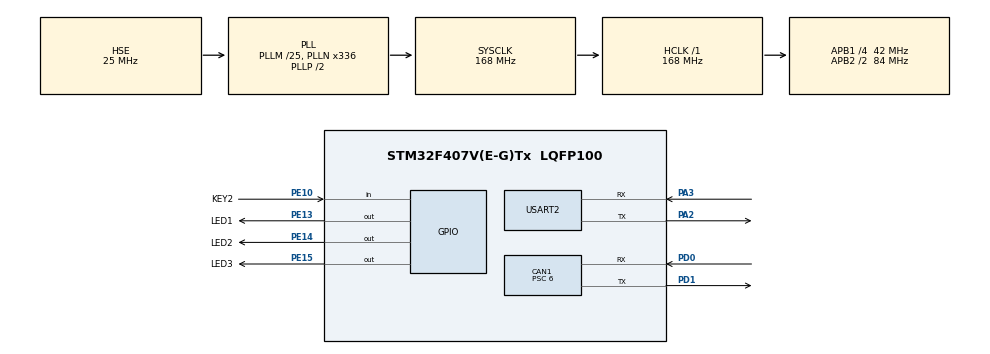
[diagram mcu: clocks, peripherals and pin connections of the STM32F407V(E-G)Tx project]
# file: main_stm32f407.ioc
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CAN1.BS1=CAN_BS1_11TQ
CAN1.BS2=CAN_BS2_2TQ
CAN1.CalculateBaudRate=500000
CAN1.CalculateTimeBit=2000
CAN1.CalculateTimeQuantum=142.85714285714286
CAN1.Prescaler=6
Dma.Request0=USART2_RX
Dma.USART2_RX.0.Direction=DMA_PERIPH_TO_MEMORY
Dma.USART2_RX.0.FIFOMode=DMA_FIFOMODE_DISABLE
Dma.USART2_RX.0.Instance=DMA1_Stream5
Dma.USART2_RX.0.MemDataAlignment=DMA_MDATAALIGN_BYTE
Dma.USART2_RX.0.MemInc=DMA_MINC_ENABLE
Dma.USART2_RX.0.Mode=DMA_CIRCULAR
Dma.USART2_RX.0.PeriphDataAlignment=DMA_PDATAALIGN_BYTE
Dma.USART2_RX.0.PeriphInc=DMA_PINC_DISABLE
Dma.USART2_RX.0.Priority=DMA_PRIORITY_LOW
Mcu.Family=STM32F4
Mcu.Name=STM32F407V(E-G)Tx
Mcu.Package=LQFP100
NVIC.CAN1_RX0_IRQn=true\:0\:0\:false\:false\:true\:true\:true\:true
NVIC.CAN1_RX1_IRQn=true\:0\:0\:false\:false\:true\:true\:true\:true
NVIC.CAN1_SCE_IRQn=true\:0\:0\:false\:false\:true\:true\:true\:true
NVIC.CAN1_TX_IRQn=true\:0\:0\:false\:false\:true\:true\:true\:true
NVIC.DMA1_Stream5_IRQn=true\:0\:0\:false\:false\:true\:false\:true\:true
NVIC.PriorityGroup=NVIC_PRIORITYGROUP_4
NVIC.TIM1_TRG_COM_TIM11_IRQn=true\:15\:0\:true\:false\:true\:true\:true\:true
NVIC.USART2_IRQn=true\:0\:0\:false\:false\:true\:true\:true\:true
PA13.Mode=Serial_Wire
PA13.Signal=SYS_JTMS-SWDIO
PA14.Mode=Serial_Wire
PA14.Signal=SYS_JTCK-SWCLK
PA2.Mode=Asynchronous
PA2.Signal=USART2_TX
PA3.Mode=Asynchronous
PA3.Signal=USART2_RX
PD0.Mode=CAN_Activate
PD0.Signal=CAN1_RX
PD1.Mode=CAN_Activate
PD1.Signal=CAN1_TX
PE10.GPIO_Label=KEY2
PE10.Signal=GPIO_Input
PE13.GPIO_Label=LED1
PE13.PinState=GPIO_PIN_SET
PE13.Signal=GPIO_Output
PE14.GPIO_Label=LED2
PE14.PinState=GPIO_PIN_SET
PE14.Signal=GPIO_Output
PE15.GPIO_Label=LED3
PE15.PinState=GPIO_PIN_SET
PE15.Signal=GPIO_Output
PH0-OSC_IN.Mode=HSE-External-Oscillator
PH0-OSC_IN.Signal=RCC_OSC_IN
PH1-OSC_OUT.Mode=HSE-External-Oscillator
PH1-OSC_OUT.Signal=RCC_OSC_OUT
ProjectManager.HeapSize=0x200
ProjectManager.StackSize=0x400
ProjectManager.TargetToolchain=Makefile
RCC.48MHZClocksFreq_Value=84000000
RCC.AHBFreq_Value=168000000
RCC.APB1CLKDivider=RCC_HCLK_DIV4
RCC.APB1Freq_Value=42000000
RCC.APB1TimFreq_Value=84000000
RCC.APB2CLKDivider=RCC_HCLK_DIV2
RCC.APB2Freq_Value=84000000
RCC.APB2TimFreq_Value=168000000
RCC.CortexFreq_Value=168000000
RCC.HCLKFreq_Value=168000000
RCC.HSE_VALUE=25000000
RCC.HSI_VALUE=16000000
RCC.LSE_VALUE=32768
RCC.PLLM=25
RCC.PLLN=336
RCC.PLLSourceVirtual=RCC_PLLSOURCE_HSE
RCC.SYSCLKFreq_VALUE=168000000
RCC.SYSCLKSource=RCC_SYSCLKSOURCE_PLLCLK
RCC.VCOOutputFreq_Value=336000000
TIM11.Period=41999
TIM11.Prescaler=3
USART2.VirtualMode=VM_ASYNC
VP_TIM11_VS_ClockSourceINT.Mode=Enable_Timer
board=custom

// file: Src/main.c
/* USER CODE BEGIN Header */
/**
  ******************************************************************************
  * @file           : main.c
  * @brief          : Main program body
  ******************************************************************************
  * @attention
  *
  * Copyright (c) 2024 STMicroelectronics.
  * All rights reserved.
  *
  * This software is licensed under terms that can be found in the LICENSE file
  * in the root directory of this software component.
  * If no LICENSE file comes with this software, it is provided AS-IS.
  *
  ******************************************************************************
  */
/* USER CODE END Header */
#include "main.h"

/* USER CODE BEGIN Includes */
#include "../../plugin/plugin.h"

/* USER CODE END Includes */

CAN_HandleTypeDef hcan1;

TIM_HandleTypeDef htim11;

UART_HandleTypeDef huart2;
DMA_HandleTypeDef hdma_usart2_rx;

/* USER CODE BEGIN PV */

#define UART_BUF_SIZE 2048

uint8_t uart_buf[UART_BUF_SIZE];
int uart_head = 0;

uint16_t led_interval = 1000;

/* USER CODE END PV */

void SystemClock_Config(void);
static void MX_GPIO_Init(void);
static void MX_DMA_Init(void);
static void MX_TIM11_Init(void);
static void MX_USART2_UART_Init(void);
static void MX_CAN1_Init(void);

/* USER CODE BEGIN 0 */

void HAL_TIM_PeriodElapsedCallback(TIM_HandleTypeDef *htim)
{
  if (htim == &htim11) {
    plugin_interface->loop();
  }
}

void HAL_UARTEx_RxEventCallback(UART_HandleTypeDef *huart, uint16_t Size)
{
  int uart_tail = Size == UART_BUF_SIZE ? 0 : Size;
  /* consume from head to end of buf if tail already wrap around */
  if (uart_tail < uart_head) {
    plugin_interface->handle_uart(uart_buf + uart_head, UART_BUF_SIZE - uart_head);
    uart_head = 0;
  }
  /* consume from head to tail */
  if (uart_tail > uart_head) {
    plugin_interface->handle_uart(uart_buf + uart_head, uart_tail - uart_head);
    uart_head = uart_tail;
  }
}

void HAL_CAN_RxFifo0MsgPendingCallback(CAN_HandleTypeDef *hcan)
{
  CAN_RxHeaderTypeDef rxMsgHeader;
  uint8_t data[8];
  if (hcan == &hcan1) {
    if (HAL_CAN_GetRxMessage(hcan, CAN_RX_FIFO0, &rxMsgHeader, data) == HAL_OK) {
      // TODO: should modify interface to handle ExtId and RTR frame
      plugin_interface->handle_can(rxMsgHeader.StdId, data, rxMsgHeader.DLC);
    }
  }
}

/* USER CODE END 0 */

int main(void)
{
  /* USER CODE BEGIN 1 */
  CAN_FilterTypeDef filterConfig;

  /* USER CODE END 1 */

  /* MCU Configuration--------------------------------------------------------*/

  /* Reset of all peripherals, Initializes the Flash interface and the Systick. */
  HAL_Init();

  /* Configure the system clock */
  SystemClock_Config();

  /* Initialize all configured peripherals */
  MX_GPIO_Init();
  MX_DMA_Init();
  MX_TIM11_Init();
  MX_USART2_UART_Init();
  MX_CAN1_Init();
  /* USER CODE BEGIN 2 */

  plugin_interface->entry();

  /* start uart rx dma in circular mode */
  HAL_UARTEx_ReceiveToIdle_DMA(&huart2, uart_buf, sizeof(uart_buf));

  /* start plugin timer */
  HAL_TIM_Base_Start_IT(&htim11);

  /* receive all can frames, just for demo purpose */
  filterConfig.FilterBank = 0;
  filterConfig.FilterMode = CAN_FILTERMODE_IDMASK;
  filterConfig.FilterScale = CAN_FILTERSCALE_32BIT;
  filterConfig.FilterIdHigh = 0;
  filterConfig.FilterIdLow = 0;
  filterConfig.FilterMaskIdHigh = 0;
  filterConfig.FilterMaskIdLow = 0;
  filterConfig.FilterFIFOAssignment = CAN_RX_FIFO0;
  filterConfig.FilterActivation = ENABLE;
  /* select the start slave bank number (for CAN1). this configuration assigns filter
   * banks 0..13 to CAN1 and 14..27 to CAN2.
   */
  filterConfig.SlaveStartFilterBank = 14;
  HAL_CAN_ConfigFilter(&hcan1, &filterConfig);
  /* start the CAN peripheral. no need to evaluate the return value as there is nothing
   * we can do about a faulty CAN controller. */
  HAL_CAN_Start(&hcan1);

  HAL_CAN_ActivateNotification(&hcan1, CAN_IT_RX_FIFO0_MSG_PENDING);

  /* USER CODE END 2 */

  /* Infinite loop */
  /* USER CODE BEGIN WHILE */
  while (1)
  {
    HAL_GPIO_WritePin(LED1_GPIO_Port, LED1_Pin, GPIO_PIN_RESET);
    HAL_Delay(led_interval);
    HAL_GPIO_WritePin(LED1_GPIO_Port, LED1_Pin, GPIO_PIN_SET);
    HAL_Delay(led_interval);

    /* USER CODE END WHILE */

  }
}

void SystemClock_Config(void)
{
  RCC_OscInitTypeDef RCC_OscInitStruct = {0};
  RCC_ClkInitTypeDef RCC_ClkInitStruct = {0};

  /** Configure the main internal regulator output voltage
  */
  __HAL_RCC_PWR_CLK_ENABLE();
  __HAL_PWR_VOLTAGESCALING_CONFIG(PWR_REGULATOR_VOLTAGE_SCALE1);

  /** Initializes the RCC Oscillators according to the specified parameters
  * in the RCC_OscInitTypeDef structure.
  */
  RCC_OscInitStruct.OscillatorType = RCC_OSCILLATORTYPE_HSE;
  RCC_OscInitStruct.HSEState = RCC_HSE_ON;
  RCC_OscInitStruct.PLL.PLLState = RCC_PLL_ON;
  RCC_OscInitStruct.PLL.PLLSource = RCC_PLLSOURCE_HSE;
  RCC_OscInitStruct.PLL.PLLM = 25;
  RCC_OscInitStruct.PLL.PLLN = 336;
  RCC_OscInitStruct.PLL.PLLP = RCC_PLLP_DIV2;
  RCC_OscInitStruct.PLL.PLLQ = 4;
  if (HAL_RCC_OscConfig(&RCC_OscInitStruct) != HAL_OK)
  {
    Error_Handler();
  }

  /** Initializes the CPU, AHB and APB buses clocks
  */
  RCC_ClkInitStruct.ClockType = RCC_CLOCKTYPE_HCLK|RCC_CLOCKTYPE_SYSCLK
                              |RCC_CLOCKTYPE_PCLK1|RCC_CLOCKTYPE_PCLK2;
  RCC_ClkInitStruct.SYSCLKSource = RCC_SYSCLKSOURCE_PLLCLK;
  RCC_ClkInitStruct.AHBCLKDivider = RCC_SYSCLK_DIV1;
  RCC_ClkInitStruct.APB1CLKDivider = RCC_HCLK_DIV4;
  RCC_ClkInitStruct.APB2CLKDivider = RCC_HCLK_DIV2;

  if (HAL_RCC_ClockConfig(&RCC_ClkInitStruct, FLASH_LATENCY_5) != HAL_OK)
  {
    Error_Handler();
  }
}

static void MX_CAN1_Init(void)
{

  hcan1.Instance = CAN1;
  hcan1.Init.Prescaler = 6;
  hcan1.Init.Mode = CAN_MODE_NORMAL;
  hcan1.Init.SyncJumpWidth = CAN_SJW_1TQ;
  hcan1.Init.TimeSeg1 = CAN_BS1_11TQ;
  hcan1.Init.TimeSeg2 = CAN_BS2_2TQ;
  hcan1.Init.TimeTriggeredMode = DISABLE;
  hcan1.Init.AutoBusOff = DISABLE;
  hcan1.Init.AutoWakeUp = DISABLE;
  hcan1.Init.AutoRetransmission = DISABLE;
  hcan1.Init.ReceiveFifoLocked = DISABLE;
  hcan1.Init.TransmitFifoPriority = DISABLE;
  if (HAL_CAN_Init(&hcan1) != HAL_OK)
  {
    Error_Handler();
  }

}

static void MX_TIM11_Init(void)
{

  htim11.Instance = TIM11;
  htim11.Init.Prescaler = 3;
  htim11.Init.CounterMode = TIM_COUNTERMODE_UP;
  htim11.Init.Period = 41999;
  htim11.Init.ClockDivision = TIM_CLOCKDIVISION_DIV1;
  htim11.Init.AutoReloadPreload = TIM_AUTORELOAD_PRELOAD_DISABLE;
  if (HAL_TIM_Base_Init(&htim11) != HAL_OK)
  {
    Error_Handler();
  }

}

static void MX_USART2_UART_Init(void)
{

  huart2.Instance = USART2;
  huart2.Init.BaudRate = 115200;
  huart2.Init.WordLength = UART_WORDLENGTH_8B;
  huart2.Init.StopBits = UART_STOPBITS_1;
  huart2.Init.Parity = UART_PARITY_NONE;
  huart2.Init.Mode = UART_MODE_TX_RX;
  huart2.Init.HwFlowCtl = UART_HWCONTROL_NONE;
  huart2.Init.OverSampling = UART_OVERSAMPLING_16;
  if (HAL_UART_Init(&huart2) != HAL_OK)
  {
    Error_Handler();
  }

}

static void MX_DMA_Init(void)
{

  /* DMA controller clock enable */
  __HAL_RCC_DMA1_CLK_ENABLE();

  /* DMA interrupt init */
  /* DMA1_Stream5_IRQn interrupt configuration */
  HAL_NVIC_SetPriority(DMA1_Stream5_IRQn, 0, 0);
  HAL_NVIC_EnableIRQ(DMA1_Stream5_IRQn);

}

static void MX_GPIO_Init(void)
{
  GPIO_InitTypeDef GPIO_InitStruct = {0};

  /* GPIO Ports Clock Enable */
  __HAL_RCC_GPIOH_CLK_ENABLE();
  __HAL_RCC_GPIOA_CLK_ENABLE();
  __HAL_RCC_GPIOE_CLK_ENABLE();
  __HAL_RCC_GPIOD_CLK_ENABLE();

  /*Configure GPIO pin Output Level */
  HAL_GPIO_WritePin(GPIOE, LED1_Pin|LED2_Pin|LED3_Pin, GPIO_PIN_SET);

  /*Configure GPIO pin : KEY2_Pin */
  GPIO_InitStruct.Pin = KEY2_Pin;
  GPIO_InitStruct.Mode = GPIO_MODE_INPUT;
  GPIO_InitStruct.Pull = GPIO_NOPULL;
  HAL_GPIO_Init(KEY2_GPIO_Port, &GPIO_InitStruct);

  /*Configure GPIO pins : LED1_Pin LED2_Pin LED3_Pin */
  GPIO_InitStruct.Pin = LED1_Pin|LED2_Pin|LED3_Pin;
  GPIO_InitStruct.Mode = GPIO_MODE_OUTPUT_PP;
  GPIO_InitStruct.Pull = GPIO_NOPULL;
  GPIO_InitStruct.Speed = GPIO_SPEED_FREQ_LOW;
  HAL_GPIO_Init(GPIOE, &GPIO_InitStruct);

}

void Error_Handler(void)
{
  __disable_irq();
  while (1)
  {
  }
}
